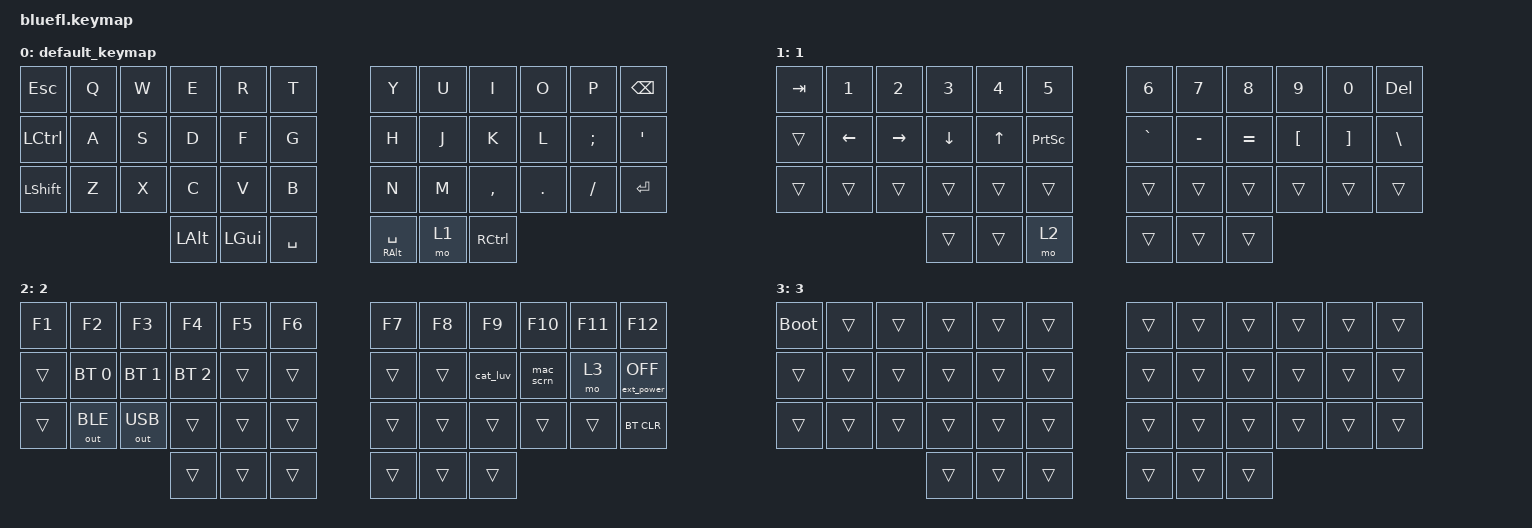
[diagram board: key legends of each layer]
#include <behaviors.dtsi>
#include <dt-bindings/zmk/keys.h>
#include <dt-bindings/zmk/bt.h>
#include <dt-bindings/zmk/outputs.h>
#include <dt-bindings/zmk/ext_power.h>

/ {
    behaviors {
        hm: homerow_mods {
            compatible = "zmk,behavior-hold-tap";
            label = "HOMEROW_MODS";
            #binding-cells = <2>;
            tapping-term-ms = <150>;
            quick-tap-ms = <0>;
            flavor = "tap-preferred";
            bindings = <&kp>, <&kp>;
        };
    };
    macros {
        cat_luv: cat_luv {
            label = "DISCORD_cat_luv";
            compatible = "zmk,behavior-macro";
            #binding-cells = <0>;
            wait-ms = <5>;
            bindings
                = <&macro_tap &kp COLON &kp C &kp A &kp T &kp UNDER &kp L &kp U &kp V &kp COLON>
                ;
        };
        mac_scrn: mac_scrn {
            label = "MAC_mac_scrn";
            compatible = "zmk,behavior-macro";
            #binding-cells = <0>;
            wait-ms = <5>;
            bindings
                = <&macro_press &kp LSHFT &kp LGUI &kp LALT>
                , <&macro_tap &kp N4>
                , <&macro_release &kp LSHFT &kp LGUI &kp LALT>
                ;
        };
    };

    keymap {
        compatible = "zmk,keymap";

        default_keymap {
            bindings = <
                        &kp ESC     &kp Q       &kp W       &kp E       &kp R       &kp T       &kp Y       &kp U       &kp I       &kp O       &kp P       &kp BSPC
                        &kp LCTRL   &kp A       &kp S       &kp D       &kp F       &kp G       &kp H       &kp J       &kp K       &kp L       &kp SEMI    &kp APOS
                        &kp LSHFT   &kp Z       &kp X       &kp C       &kp V       &kp B       &kp N       &kp M       &kp COMMA   &kp DOT     &kp FSLH    &kp ENTER
                                                            &kp LALT    &kp LGUI    &kp SPACE   &hm RALT SPACE  &mo 1   &kp RCTRL                                                                   
            >;
        };
        1 {
            bindings = <
                        &kp TAB     &kp N1      &kp N2      &kp N3      &kp N4      &kp N5      &kp N6      &kp N7      &kp N8      &kp N9      &kp N0      &kp DEL
                        &trans      &kp LEFT    &kp RIGHT   &kp DOWN    &kp UP      &kp PSCRN   &kp GRAVE   &kp MINUS   &kp EQUAL   &kp LBKT    &kp RBKT    &kp BSLH
                        &trans      &trans      &trans      &trans      &trans      &trans      &trans      &trans      &trans      &trans      &trans      &trans      
                                                            &trans      &trans      &mo 2       &trans      &trans      &trans              
            >;
        };
        2 {
            bindings = <
                        &kp F1      &kp F2      &kp F3      &kp F4      &kp F5      &kp F6      &kp F7      &kp F8      &kp F9      &kp F10     &kp F11     &kp F12
                        &trans      &bt BT_SEL 0 &bt BT_SEL 1 &bt BT_SEL 2 &trans   &trans      &trans      &trans      &cat_luv    &mac_scrn   &mo 3       &ext_power EP_OFF
                        &trans      &out OUT_BLE &out OUT_USB &trans    &trans      &trans      &trans      &trans      &trans      &trans      &trans      &bt BT_CLR      
                                                            &trans      &trans      &trans      &trans      &trans      &trans              
            >;
        };
        3 {
            bindings = <
                        &bootloader &trans      &trans      &trans      &trans      &trans      &trans      &trans      &trans      &trans      &trans      &trans 
                        &trans      &trans      &trans      &trans      &trans      &trans      &trans      &trans      &trans      &trans      &trans      &trans 
                        &trans      &trans      &trans      &trans      &trans      &trans      &trans      &trans      &trans      &trans      &trans      &trans 
                                                            &trans      &trans      &trans      &trans      &trans      &trans              
            >;
        };
    };
};
